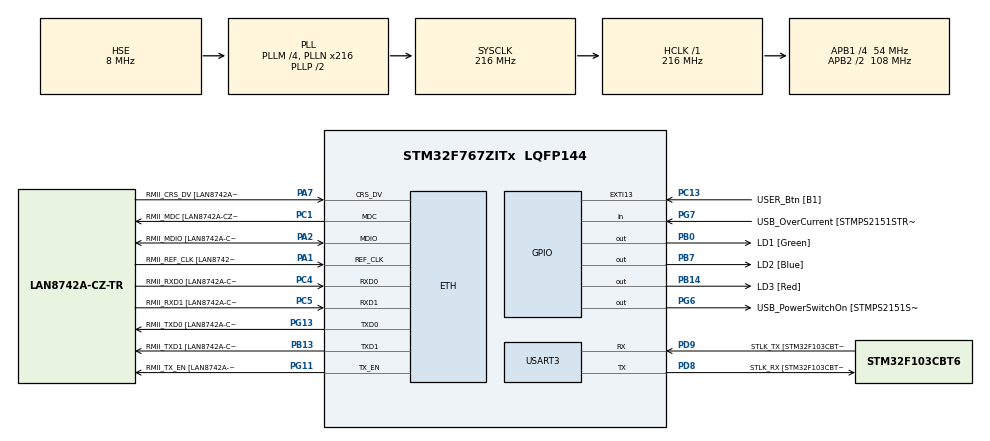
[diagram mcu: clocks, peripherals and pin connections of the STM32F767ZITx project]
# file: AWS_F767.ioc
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Mcu.Family=STM32F7
RCC.CortexFreq_Value=216000000
PG6.Signal=GPIO_Output
VP_MBEDTLS_VS_MBEDTLS.Mode=Enabled
PB14.GPIO_Label=LD3 [Red]
PG6.GPIO_Label=USB_PowerSwitchOn [STMPS2151STR_EN]
PA14.GPIO_Label=TCK
RCC.SYSCLKSourceVirtual=RCC_SYSCLKSOURCE_PLLCLK
VP_RTC_VS_RTC_Activate.Mode=RTC_Enabled
PB0.GPIO_Label=LD1 [Green]
PC14/OSC32_IN.Mode=LSE-External-Oscillator
PC5.Mode=RMII
PC13.GPIO_Label=USER_Btn [B1]
PB13.GPIO_Label=RMII_TXD1 [LAN8742A-CZ-TR_TXD1]
PB13.Signal=ETH_TXD1
PG13.Signal=ETH_TXD0
PD9.Mode=Asynchronous
PG11.Signal=ETH_TX_EN
RCC.SYSCLKSource=RCC_SYSCLKSOURCE_PLLCLK
ProjectManager.StackSize=0x1000
USART3.VirtualMode-Asynchronous=VM_ASYNC
PA12.Signal=USB_OTG_FS_DP
ETH.PHY_Value=0
PH0/OSC_IN.Mode=HSE-External-Clock-Source
RCC.HCLKFreq_Value=216000000
RCC.APB2TimFreq_Value=216000000
PH1/OSC_OUT.Signal=RCC_OSC_OUT
PD8.Signal=USART3_TX
RCC.AHBFreq_Value=216000000
NVIC.ETH_IRQn=true\:5\:0\:false\:false\:true\:true\:true\:true
RCC.HSE_VALUE=8000000
RCC.PLLMUL=RCC_PLL_MUL9
PC4.GPIO_Label=RMII_RXD0 [LAN8742A-CZ-TR_RXD0]
PA14.Mode=Serial_Wire
NVIC.TIM2_IRQn=true\:5\:0\:false\:false\:true\:true\:true\:true
PA10.GPIO_Label=USB_ID
PB7.Signal=GPIO_Output
PA8.Signal=USB_OTG_FS_SOF
PG13.Mode=RMII
ETH.PHY_Name=LAN8742A_PHY_ADDRESS
VP_FREERTOS_VS_CMSIS_V1.Mode=CMSIS_V1
PH1/OSC_OUT.Mode=HSE-External-Clock-Source
PB7.GPIO_Label=LD2 [Blue]
Mcu.Package=LQFP144
PC14/OSC32_IN.Signal=RCC_OSC32_IN
PA2.GPIO_Label=RMII_MDIO [LAN8742A-CZ-TR_MDIO]
PA10.Signal=USB_OTG_FS_ID
VP_RTC_VS_RTC_Calendar.Mode=RTC_Calendar
RCC.APB2CLKDivider=RCC_HCLK_DIV2
RCC.APB1TimFreq_Value=108000000
PG11.GPIO_Label=RMII_TX_EN [LAN8742A-CZ-TR_TXEN]
PC5.Signal=ETH_RXD1
PB13.Mode=RMII
VP_TIM3_VS_ClockSourceINT.Mode=Internal
PC4.Mode=RMII
PB3.GPIO_Label=SWO
RCC.PLLSourceVirtual=RCC_PLLSOURCE_HSE
FREERTOS.Tasks01=defaultTask,0,128,StartDefaultTask,Default,NULL,Dynamic,NULL,NULL
PA7.Mode=RMII
PG7.Signal=GPIO_Input
PD9.GPIO_Label=STLK_TX [STM32F103CBT6_PA2]
PC13.Signal=GPXTI13
PA9.GPIO_Label=USB_VBUS
PC4.Signal=ETH_RXD0
PA11.GPIO_Label=USB_DM
PD9.Signal=USART3_RX
VP_RNG_VS_RNG.Mode=RNG_Activate
RCC.APB1CLKDivider=RCC_HCLK_DIV4
PG13.GPIO_Label=RMII_TXD0 [LAN8742A-CZ-TR_TXD0]
ETH.PhyAddress=0
PA12.GPIO_Label=USB_DP
VP_LWIP_VS_Enabled.Mode=Enabled
PD8.GPIO_Label=STLK_RX [STM32F103CBT6_PA3]
PA13.Signal=SYS_JTMS-SWDIO
PA8.GPIO_Label=USB_SOF [TP1]
ProjectManager.TargetToolchain=TrueSTUDIO
PA9.Signal=USB_OTG_FS_VBUS
RCC.USBFreq_Value=48000000
PD8.Mode=Asynchronous
PA1.Signal=ETH_REF_CLK
PB14.Signal=GPIO_Output
board=NUCLEO-F767ZI
RCC.VCOOutputFreq_Value=432000000
NVIC.TIM3_IRQn=true\:5\:0\:false\:false\:true\:true\:true\:true
PH0/OSC_IN.Signal=RCC_OSC_IN
RCC.APB2Freq_Value=108000000
PA1.Mode=RMII
RCC.PRESCALERUSB=RCC_USBCLKSOURCE_PLL_DIV1_5
VP_TIM2_VS_ClockSourceINT.Mode=Internal
PG7.GPIO_Label=USB_OverCurrent [STMPS2151STR_FAULT]
PA1.GPIO_Label=RMII_REF_CLK [LAN8742A-CZ-TR_REFCLK0]
PC1.GPIO_Label=RMII_MDC [LAN8742A-CZ-TR_MDC]
PA13.Mode=Serial_Wire
Mcu.Name=STM32F767ZITx
PA2.Signal=ETH_MDIO
PA13.GPIO_Label=TMS
RCC.48MHZClocksFreq_Value=24000000
PB3.Signal=SYS_JTDO-SWO
RCC.SYSCLKFreq_VALUE=216000000
ETH.MediaInterface=ETH_MEDIA_INTERFACE_RMII
PA7.GPIO_Label=RMII_CRS_DV [LAN8742A-CZ-TR_CRS_DV]
PC5.GPIO_Label=RMII_RXD1 [LAN8742A-CZ-TR_RXD1]
PC15/OSC32_OUT.Mode=LSE-External-Oscillator
PG11.Mode=RMII
PA11.Signal=USB_OTG_FS_DM
PA14.Signal=SYS_JTCK-SWCLK
ProjectManager.HeapSize=0x17800
LWIP.Version=v2.1.2_Cube
RCC.HSI_VALUE=16000000
PH0/OSC_IN.GPIO_Label=MCO [STM32F103CBT6_PA8]
VP_TIM4_VS_ClockSourceINT.Mode=Internal
RCC.PLLQ=9
NVIC.PriorityGroup=NVIC_PRIORITYGROUP_4
RCC.PLLM=4
RCC.PLLN=216
PA2.Mode=RMII
PC15/OSC32_OUT.Signal=RCC_OSC32_OUT
NVIC.TIM4_IRQn=true\:5\:0\:false\:false\:true\:true\:true\:true
RCC.APB1Freq_Value=54000000
PB0.Signal=GPIO_Output
PC1.Signal=ETH_MDC
PC1.Mode=RMII
PA7.Signal=ETH_CRS_DV

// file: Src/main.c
/* USER CODE BEGIN Header */
/**
  ******************************************************************************
  * @file           : main.c
  * @brief          : Main program body
  ******************************************************************************
  * @attention
  *
  * <h2><center>&copy; Copyright (c) 2020 STMicroelectronics.
  * All rights reserved.</center></h2>
  *
  * This software component is licensed by ST under Ultimate Liberty license
  * SLA0044, the "License"; You may not use this file except in compliance with
  * the License. You may obtain a copy of the License at:
  *                             www.st.com/SLA0044
  *
  ******************************************************************************
  */
/* USER CODE END Header */

#include "main.h"

RNG_HandleTypeDef hrng;

RTC_HandleTypeDef hrtc;

TIM_HandleTypeDef htim2;
TIM_HandleTypeDef htim3;
TIM_HandleTypeDef htim4;

UART_HandleTypeDef huart3;

osThreadId defaultTaskHandle;
osThreadId secondTaskHandle;

/* USER CODE BEGIN PV */
net_hnd_t         hnet; /* Is initialized by cloud_main(). */
static volatile uint8_t button_flags = 0;
static void Button_ISR(void);
static void cloud_test(void const *arg);
uint8_t Rh_byte1, Rh_byte2, Temp_byte1, Temp_byte2;
uint16_t sum, RH, TEMP;
int temp_low=0, temp_high=0, rh_low=0, rh_high=0;
GPIO_InitTypeDef GPIO_InitStruct;
/* USER CODE END PV */

void SystemClock_Config(void);
static void MX_GPIO_Init(void);
static void MX_RNG_Init(void);
static void MX_RTC_Init(void);
static void MX_TIM2_Init(void);
static void MX_TIM3_Init(void);
static void MX_TIM4_Init(void);
static void MX_USART3_UART_Init(void);
void StartDefaultTask(void const * argument);

/* USER CODE BEGIN PFP */
void secondTask(void const * argument);

/* USER CODE END PFP */

/* USER CODE BEGIN 0 */
void delay (uint16_t time)
{
	/* change your code here for the delay in microseconds */
	__HAL_TIM_SET_COUNTER(&htim4, 0);
	while ((__HAL_TIM_GET_COUNTER(&htim4))<time);
}
#if (defined(__GNUC__) && !defined(__CC_ARM))
/* With GCC/RAISONANCE, small printf (option LD Linker->Libraries->Small printf
   set to 'Yes') calls __io_putchar() */
#define PUTCHAR_PROTOTYPE int __io_putchar(int ch)
#define GETCHAR_PROTOTYPE int __io_getchar(void)
#else
#define PUTCHAR_PROTOTYPE int fputc(int ch, FILE *f)
#define GETCHAR_PROTOTYPE int fgetc(FILE *f)
#endif /* __GNUC__ */

/**
  * @brief  Retargets the C library printf function to the USART.
  * @param  None
  * @retval None
  */
PUTCHAR_PROTOTYPE
{
  /* Place your implementation of fputc here */
  /* e.g. write a character to the USART2 and Loop until the end of transmission */
  while (HAL_OK != HAL_UART_Transmit(&huart3, (uint8_t *) &ch, 1, 30000))
  {
    ;
  }
  return ch;
}

/**
  * @brief  Retargets the C library scanf function to the USART.
  * @param  None
  * @retval None
  */
GETCHAR_PROTOTYPE
{
  /* Place your implementation of fgetc here */
  /* e.g. read a character on USART and loop until the end of read */
  uint8_t ch = 0;
  while (HAL_OK != HAL_UART_Receive(&huart3, (uint8_t *)&ch, 1, 30000))
  {
    ;
  }
  return ch;
}

/* USER CODE END 0 */

int main(void)
{

  /* MCU Configuration--------------------------------------------------------*/

  /* Reset of all peripherals, Initializes the Flash interface and the Systick. */
  HAL_Init();

  /* Configure the system clock */
  SystemClock_Config();

  /* Initialize all configured peripherals */
  MX_GPIO_Init();
  MX_RNG_Init();
  MX_RTC_Init();
  MX_TIM2_Init();
  MX_TIM3_Init();
  MX_TIM4_Init();
  MX_USART3_UART_Init();
  /* Up to user define the empty MX_MBEDTLS_Init() function located in mbedtls.c file */
  /* USER CODE BEGIN 2 */
printf("Hello World\n\r");
  /* USER CODE END 2 */

  /* Create the thread(s) */
  /* definition and creation of defaultTask */
  osThreadDef(defaultTask, StartDefaultTask, osPriorityNormal, 0, 128);
  defaultTaskHandle = osThreadCreate(osThread(defaultTask), NULL);

  /* USER CODE BEGIN RTOS_THREADS */
  osThreadDef(secondTaskHandle, secondTask, osPriorityNormal, 0, 1024);
  defaultTaskHandle = osThreadCreate(osThread(defaultTask), NULL);
  /* add threads, ... */
  /* USER CODE END RTOS_THREADS */

  /* Start scheduler */
  osKernelStart();

  /* We should never get here as control is now taken by the scheduler */
  /* Infinite loop */
  while (1)
  {

  }
}

void SystemClock_Config(void)
{
  RCC_OscInitTypeDef RCC_OscInitStruct = {0};
  RCC_ClkInitTypeDef RCC_ClkInitStruct = {0};
  RCC_PeriphCLKInitTypeDef PeriphClkInitStruct = {0};

  /** Configure LSE Drive Capability
  */
  HAL_PWR_EnableBkUpAccess();
  /** Configure the main internal regulator output voltage
  */
  __HAL_RCC_PWR_CLK_ENABLE();
  __HAL_PWR_VOLTAGESCALING_CONFIG(PWR_REGULATOR_VOLTAGE_SCALE1);
  /** Initializes the CPU, AHB and APB busses clocks
  */
  RCC_OscInitStruct.OscillatorType = RCC_OSCILLATORTYPE_LSI|RCC_OSCILLATORTYPE_HSE;
  RCC_OscInitStruct.HSEState = RCC_HSE_BYPASS;
  RCC_OscInitStruct.LSIState = RCC_LSI_ON;
  RCC_OscInitStruct.PLL.PLLState = RCC_PLL_ON;
  RCC_OscInitStruct.PLL.PLLSource = RCC_PLLSOURCE_HSE;
  RCC_OscInitStruct.PLL.PLLM = 4;
  RCC_OscInitStruct.PLL.PLLN = 216;
  RCC_OscInitStruct.PLL.PLLP = RCC_PLLP_DIV2;
  RCC_OscInitStruct.PLL.PLLQ = 9;
  if (HAL_RCC_OscConfig(&RCC_OscInitStruct) != HAL_OK)
  {
    Error_Handler();
  }
  /** Activate the Over-Drive mode
  */
  if (HAL_PWREx_EnableOverDrive() != HAL_OK)
  {
    Error_Handler();
  }
  /** Initializes the CPU, AHB and APB busses clocks
  */
  RCC_ClkInitStruct.ClockType = RCC_CLOCKTYPE_HCLK|RCC_CLOCKTYPE_SYSCLK
                              |RCC_CLOCKTYPE_PCLK1|RCC_CLOCKTYPE_PCLK2;
  RCC_ClkInitStruct.SYSCLKSource = RCC_SYSCLKSOURCE_PLLCLK;
  RCC_ClkInitStruct.AHBCLKDivider = RCC_SYSCLK_DIV1;
  RCC_ClkInitStruct.APB1CLKDivider = RCC_HCLK_DIV4;
  RCC_ClkInitStruct.APB2CLKDivider = RCC_HCLK_DIV2;

  if (HAL_RCC_ClockConfig(&RCC_ClkInitStruct, FLASH_LATENCY_7) != HAL_OK)
  {
    Error_Handler();
  }
  PeriphClkInitStruct.PeriphClockSelection = RCC_PERIPHCLK_RTC|RCC_PERIPHCLK_USART3
                              |RCC_PERIPHCLK_CLK48;
  PeriphClkInitStruct.RTCClockSelection = RCC_RTCCLKSOURCE_LSI;
  PeriphClkInitStruct.Usart3ClockSelection = RCC_USART3CLKSOURCE_PCLK1;
  PeriphClkInitStruct.Clk48ClockSelection = RCC_CLK48SOURCE_PLL;
  if (HAL_RCCEx_PeriphCLKConfig(&PeriphClkInitStruct) != HAL_OK)
  {
    Error_Handler();
  }
}

static void MX_RNG_Init(void)
{

  hrng.Instance = RNG;
  if (HAL_RNG_Init(&hrng) != HAL_OK)
  {
    Error_Handler();
  }

}

static void MX_RTC_Init(void)
{

  RTC_TimeTypeDef sTime = {0};
  RTC_DateTypeDef sDate = {0};

  /** Initialize RTC Only
  */
  hrtc.Instance = RTC;
  hrtc.Init.HourFormat = RTC_HOURFORMAT_24;
  hrtc.Init.AsynchPrediv = 127;
  hrtc.Init.SynchPrediv = 255;
  hrtc.Init.OutPut = RTC_OUTPUT_DISABLE;
  hrtc.Init.OutPutPolarity = RTC_OUTPUT_POLARITY_HIGH;
  hrtc.Init.OutPutType = RTC_OUTPUT_TYPE_OPENDRAIN;
  if (HAL_RTC_Init(&hrtc) != HAL_OK)
  {
    Error_Handler();
  }

  /** Initialize RTC and set the Time and Date
  */
  sTime.Hours = 0x0;
  sTime.Minutes = 0x0;
  sTime.Seconds = 0x0;
  sTime.DayLightSaving = RTC_DAYLIGHTSAVING_NONE;
  sTime.StoreOperation = RTC_STOREOPERATION_RESET;
  if (HAL_RTC_SetTime(&hrtc, &sTime, RTC_FORMAT_BCD) != HAL_OK)
  {
    Error_Handler();
  }
  sDate.WeekDay = RTC_WEEKDAY_MONDAY;
  sDate.Month = RTC_MONTH_JANUARY;
  sDate.Date = 0x1;
  sDate.Year = 0x0;

  if (HAL_RTC_SetDate(&hrtc, &sDate, RTC_FORMAT_BCD) != HAL_OK)
  {
    Error_Handler();
  }

}

static void MX_TIM2_Init(void)
{

  TIM_ClockConfigTypeDef sClockSourceConfig = {0};
  TIM_MasterConfigTypeDef sMasterConfig = {0};

  htim2.Instance = TIM2;
  htim2.Init.Prescaler = 0;
  htim2.Init.CounterMode = TIM_COUNTERMODE_UP;
  htim2.Init.Period = 0;
  htim2.Init.ClockDivision = TIM_CLOCKDIVISION_DIV1;
  htim2.Init.AutoReloadPreload = TIM_AUTORELOAD_PRELOAD_DISABLE;
  if (HAL_TIM_Base_Init(&htim2) != HAL_OK)
  {
    Error_Handler();
  }
  sClockSourceConfig.ClockSource = TIM_CLOCKSOURCE_INTERNAL;
  if (HAL_TIM_ConfigClockSource(&htim2, &sClockSourceConfig) != HAL_OK)
  {
    Error_Handler();
  }
  sMasterConfig.MasterOutputTrigger = TIM_TRGO_RESET;
  sMasterConfig.MasterSlaveMode = TIM_MASTERSLAVEMODE_DISABLE;
  if (HAL_TIMEx_MasterConfigSynchronization(&htim2, &sMasterConfig) != HAL_OK)
  {
    Error_Handler();
  }

}

static void MX_TIM3_Init(void)
{

  TIM_ClockConfigTypeDef sClockSourceConfig = {0};
  TIM_MasterConfigTypeDef sMasterConfig = {0};

  htim3.Instance = TIM3;
  htim3.Init.Prescaler = 0;
  htim3.Init.CounterMode = TIM_COUNTERMODE_UP;
  htim3.Init.Period = 0;
  htim3.Init.ClockDivision = TIM_CLOCKDIVISION_DIV1;
  htim3.Init.AutoReloadPreload = TIM_AUTORELOAD_PRELOAD_DISABLE;
  if (HAL_TIM_Base_Init(&htim3) != HAL_OK)
  {
    Error_Handler();
  }
  sClockSourceConfig.ClockSource = TIM_CLOCKSOURCE_INTERNAL;
  if (HAL_TIM_ConfigClockSource(&htim3, &sClockSourceConfig) != HAL_OK)
  {
    Error_Handler();
  }
  sMasterConfig.MasterOutputTrigger = TIM_TRGO_RESET;
  sMasterConfig.MasterSlaveMode = TIM_MASTERSLAVEMODE_DISABLE;
  if (HAL_TIMEx_MasterConfigSynchronization(&htim3, &sMasterConfig) != HAL_OK)
  {
    Error_Handler();
  }

}

static void MX_TIM4_Init(void)
{

  TIM_ClockConfigTypeDef sClockSourceConfig = {0};
  TIM_MasterConfigTypeDef sMasterConfig = {0};

  htim4.Instance = TIM4;
  htim4.Init.Prescaler = 0;
  htim4.Init.CounterMode = TIM_COUNTERMODE_UP;
  htim4.Init.Period = 0;
  htim4.Init.ClockDivision = TIM_CLOCKDIVISION_DIV1;
  htim4.Init.AutoReloadPreload = TIM_AUTORELOAD_PRELOAD_DISABLE;
  if (HAL_TIM_Base_Init(&htim4) != HAL_OK)
  {
    Error_Handler();
  }
  sClockSourceConfig.ClockSource = TIM_CLOCKSOURCE_INTERNAL;
  if (HAL_TIM_ConfigClockSource(&htim4, &sClockSourceConfig) != HAL_OK)
  {
    Error_Handler();
  }
  sMasterConfig.MasterOutputTrigger = TIM_TRGO_RESET;
  sMasterConfig.MasterSlaveMode = TIM_MASTERSLAVEMODE_DISABLE;
  if (HAL_TIMEx_MasterConfigSynchronization(&htim4, &sMasterConfig) != HAL_OK)
  {
    Error_Handler();
  }

}

static void MX_USART3_UART_Init(void)
{

  huart3.Instance = USART3;
  huart3.Init.BaudRate = 115200;
  huart3.Init.WordLength = UART_WORDLENGTH_8B;
  huart3.Init.StopBits = UART_STOPBITS_1;
  huart3.Init.Parity = UART_PARITY_NONE;
  huart3.Init.Mode = UART_MODE_TX_RX;
  huart3.Init.HwFlowCtl = UART_HWCONTROL_NONE;
  huart3.Init.OverSampling = UART_OVERSAMPLING_16;
  huart3.Init.OneBitSampling = UART_ONE_BIT_SAMPLE_DISABLE;
  huart3.AdvancedInit.AdvFeatureInit = UART_ADVFEATURE_NO_INIT;
  if (HAL_UART_Init(&huart3) != HAL_OK)
  {
    Error_Handler();
  }

}

static void MX_GPIO_Init(void)
{
  GPIO_InitTypeDef GPIO_Initruct = {0};

  /* GPIO Ports Clock Enable */
  __HAL_RCC_GPIOC_CLK_ENABLE();
  __HAL_RCC_GPIOH_CLK_ENABLE();
  __HAL_RCC_GPIOA_CLK_ENABLE();
  __HAL_RCC_GPIOB_CLK_ENABLE();
  __HAL_RCC_GPIOD_CLK_ENABLE();
  __HAL_RCC_GPIOG_CLK_ENABLE();

  /*Configure GPIO pin Output Level */
  HAL_GPIO_WritePin(GPIOB, LD1_Pin|LD3_Pin|LD2_Pin, GPIO_PIN_RESET);

  /*Configure GPIO pin Output Level */
  HAL_GPIO_WritePin(USB_PowerSwitchOn_GPIO_Port, USB_PowerSwitchOn_Pin, GPIO_PIN_RESET);

  /*Configure GPIO pin : USER_Btn_Pin */
  GPIO_Initruct.Pin = USER_Btn_Pin;
  GPIO_Initruct.Mode = GPIO_MODE_IT_RISING;
  GPIO_InitStruct.Pull = GPIO_NOPULL;
  HAL_GPIO_Init(USER_Btn_GPIO_Port, &GPIO_Initruct);

  /*Configure GPIO pins : LD1_Pin LD3_Pin LD2_Pin */
  GPIO_Initruct.Pin = LD1_Pin|LD3_Pin|LD2_Pin;
  GPIO_Initruct.Mode = GPIO_MODE_OUTPUT_PP;
  GPIO_Initruct.Pull = GPIO_NOPULL;
  GPIO_Initruct.Speed = GPIO_SPEED_FREQ_LOW;
  HAL_GPIO_Init(GPIOB, &GPIO_Initruct);

  /*Configure GPIO pin : USB_PowerSwitchOn_Pin */
  GPIO_Initruct.Pin = USB_PowerSwitchOn_Pin;
  GPIO_Initruct.Mode = GPIO_MODE_OUTPUT_PP;
  GPIO_Initruct.Pull = GPIO_NOPULL;
  GPIO_Initruct.Speed = GPIO_SPEED_FREQ_LOW;
  HAL_GPIO_Init(USB_PowerSwitchOn_GPIO_Port, &GPIO_Initruct);

  /*Configure GPIO pin : USB_OverCurrent_Pin */
  GPIO_Initruct.Pin = USB_OverCurrent_Pin;
  GPIO_Initruct.Mode = GPIO_MODE_INPUT;
  GPIO_Initruct.Pull = GPIO_NOPULL;
  HAL_GPIO_Init(USB_OverCurrent_GPIO_Port, &GPIO_Initruct);

  /*Configure GPIO pins : USB_SOF_Pin USB_ID_Pin USB_DM_Pin USB_DP_Pin */
  GPIO_Initruct.Pin = USB_SOF_Pin|USB_ID_Pin|USB_DM_Pin|USB_DP_Pin;
  GPIO_Initruct.Mode = GPIO_MODE_AF_PP;
  GPIO_Initruct.Pull = GPIO_NOPULL;
  GPIO_Initruct.Speed = GPIO_SPEED_FREQ_VERY_HIGH;
  GPIO_Initruct.Alternate = GPIO_AF10_OTG_FS;
  HAL_GPIO_Init(GPIOA, &GPIO_Initruct);

  /*Configure GPIO pin : USB_VBUS_Pin */
  GPIO_Initruct.Pin = USB_VBUS_Pin;
  GPIO_Initruct.Mode = GPIO_MODE_INPUT;
  GPIO_Initruct.Pull = GPIO_NOPULL;
  HAL_GPIO_Init(USB_VBUS_GPIO_Port, &GPIO_Initruct);

  /* Enable and set EXTI line 15_10 Interrupt to the lowest priority */
  HAL_NVIC_SetPriority(EXTI0_IRQn, 2, 0);
  HAL_NVIC_EnableIRQ(EXTI0_IRQn);

}

/* USER CODE BEGIN 4 */
void Led_SetState(bool on)
{
  if (on == true)
  {
   HAL_GPIO_WritePin(LD2_GPIO_Port,LD2_Pin,GPIO_PIN_SET);
  }
  else
  {
   HAL_GPIO_WritePin(LD2_GPIO_Port,LD2_Pin,GPIO_PIN_RESET);
  }
}
/**
 * @brief Blink LED for 'count' cycles of 'period' period and 'duty' ON duration.
 * duty < 0 tells to start with an OFF state.
 */
void Led_Blink(int period, int duty, int count)
{
  if ( (duty > 0) && (period >= duty) )
  {
    /*  Shape:   ____
                  on |_off__ */
    do
    {
      Led_SetState(true);
      HAL_Delay(duty);
      Led_SetState(false);
      HAL_Delay(period - duty);
    } while (count--);
  }
  if ( (duty < 0) && (period >= -duty) )
  {
    /*  Shape:         ____
                __off_| on   */
    do
    {
      Led_SetState(false);
      HAL_Delay(period + duty);
      Led_SetState(true);
      HAL_Delay(-duty);
    } while (count--);
  }
}

/**
  * @brief Update button ISR status
  */

/**
  * @brief Waiting for button to be pushed
  */
uint8_t Button_WaitForPush(uint32_t delay)
{
  uint32_t time_out = HAL_GetTick()+delay;
  do
  {
    if (button_flags > 1)
    {
      button_flags = 0;
      return BP_MULTIPLE_PUSH;
    }

    if (button_flags == 1)
    {
      button_flags = 0;
      return BP_SINGLE_PUSH;
    }
  }
  while( HAL_GetTick() < time_out);
  return BP_NOT_PUSHED;
}

static void Button_ISR(void)
{
  button_flags++;
}
/**
  * @brief Waiting for button to be pushed
  */
uint8_t Button_WaitForMultiPush(uint32_t delay)
{
  HAL_Delay(delay);
  if (button_flags > 1)
  {
    button_flags = 0;
    return BP_MULTIPLE_PUSH;
  }

  if (button_flags == 1)
  {
    button_flags = 0;
    return BP_SINGLE_PUSH;
  }
  return BP_NOT_PUSHED;
}

static void cloud_test(void const *arg)
{
  platform_init();
  subscribe_publish_sensor_values();
  platform_deinit();
}
void secondTask(void const * argument)
{
	 UNUSED(argument);
	 //HAL_GPIO_WritePin(DHT_22_GND_GPIO_Port,DHT_22_GND_Pin,GPIO_PIN_RESET);
	// HAL_GPIO_WritePin(DHT_22_PWR_GPIO_Port,DHT_22_PWR_Pin,GPIO_PIN_SET);
//	 HAL_Delay(2000);
	// 	 // if(HAL_TIM_Base_Init(&htim2) != HAL_OK)
	 	 // {
	 	    /* Initialization Error */
	 	///    Error_Handler();
	 //	  }
	 	 // int y=1;
	 	 while(1){
	 		//  DHT22_start ();
	 			//  	check_response ();
	 			 // 	Rh_byte1 = read_data ();
	 			  //	Rh_byte2 = read_data ();
	 			  //	Temp_byte1 = read_data ();
	 			  //	Temp_byte2 = read_data ();
	 			  //	sum = read_data();

	 			 //TEMP = ((Temp_byte1<<8)|Temp_byte2);
	 			 //RH = ((Rh_byte1<<8)|Rh_byte2);

	 			  //	temp_low = TEMP/10;
	 			  //	temp_high = TEMP%10;

	 			  	///rh_low = RH/10;
	 			//  	rh_high = RH%10;
	 			 // 	delay(1000000);

	 	 }

}
/* USER CODE END 4 */

void StartDefaultTask(void const * argument)
{
  /* USER CODE BEGIN 5 */
	 UNUSED(argument);
	  msg_info("\r\n Starting Main Thread...\n");

	  /* Start application task */
	  /* Beware that the OS stack frames are allocated from the OS heap. May incur RAM overwrite in case of overflow. */
	  osThreadDef(CLOUDNAME, &cloud_test, osPriorityNormal, 0, configMINIMAL_STACK_SIZE + 0x1000);
	  osThreadCreate (osThread(CLOUDNAME), NULL);
  /* Infinite loop */
  for(;;)
  {
	    osThreadTerminate(NULL);
  }
  /* USER CODE END 5 */
}
void HAL_GPIO_EXTI_Callback(uint16_t GPIO_Pin)
{
  switch (GPIO_Pin)
  {
    case (GPIO_PIN_0):
    {
      Button_ISR();
      break;
    }

    default:
    {
      break;
    }
  }
}

void Error_Handler(void)
{
}

/************************ (C) COPYRIGHT STMicroelectronics *****END OF FILE****/
